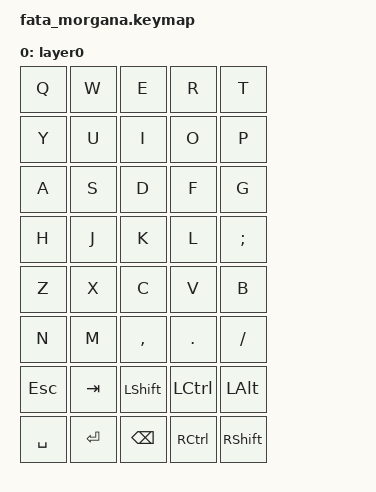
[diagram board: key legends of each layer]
#include <behaviors.dtsi>
#include <dt-bindings/zmk/keys.h>
#include <dt-bindings/zmk/bt.h>
#include <dt-bindings/zmk/ext_power.h>

  / {
    keymap {
      compatible = "zmk,keymap";
      layer0 {
          bindings = <
            &kp Q &kp W &kp E &kp R &kp T 
            &kp Y &kp U &kp I &kp O &kp P 
            &kp A &kp S &kp D &kp F &kp G
            &kp H &kp J &kp K &kp L &kp SEMI
            &kp Z &kp X &kp C &kp V &kp B
            &kp N &kp M &kp COMMA &kp DOT &kp SLASH
            &kp ESC &kp TAB &kp LSHIFT &kp LCTRL &kp LALT
            &kp SPACE &kp ENTER &kp BSPC &kp RCTRL &kp RSHIFT
          >;
        };

    };
  };
  
// / {
//     keymap {
//         compatible = "zmk,keymap";

//         layer0 {
//             bindings = <
//                 &kp Q &kp W &kp E &kp R &kp T &kp Y &kp U &kp I &kp O &kp P
//                 &mt LEFT_GUI A &mt LEFT_ALT S &mt LEFT_CONTROL D &mt LEFT_SHIFT F &mt LEFT_GUI G
//                 &mt LEFT_GUI H &mt RIGHT_SHIFT J &mt RIGHT_CONTROL K &mt RIGHT_ALT L &mt RIGHT_GUI SEMICOLON
//                 &lt 2 Z &kp X &kp C &kp V &kp B
//                 &lt 1 N &kp M &kp COMMA &kp DOT &kp SLASH
//                 &lt 2 F20 &kp SPACE &lt 1 TAB &kp ENTER &kp BACKSPACE
//             >;
//         };

//         layer1 {
//             bindings = <
//                 &kp N1 &kp N2 &kp N3 &kp N4 &kp N5 &kp N6 &kp N7 &kp N8 &kp N9 &kp N0
//                 &mt LEFT_GUI GRAVE &mt LEFT_ALT F20 &mt LEFT_CONTROL F20 &mt LEFT_SHIFT F20 &mt LEFT_GUI KP_CLEAR
//                 &none &kp GRAVE &kp MINUS &kp EQUAL &kp SINGLE_QUOTE
//                 &kp K_UNDO &kp K_CUT &kp K_COPY &kp K_PASTE &kp K_FIND
//                 &none &kp BACKSLASH &kp LEFT_BRACKET &kp RIGHT_BRACKET &kp KP_SLASH
//                 &kp PRINTSCREEN &none &none &none &none
//             >;
//         };

//         layer2 {
//             bindings = <
//                 &kp F1 &kp F2 &kp F3 &kp F4 &kp F5 &kp F6 &kp F7 &kp F8 &kp F9 &kp F10
//                 &kp LEFT_GUI &kp LEFT_ALT &kp LEFT_CONTROL &kp LEFT_SHIFT &mt LEFT_GUI KP_CLEAR
//                 &kp LEFT &kp DOWN &kp UP &kp RIGHT &kp F11
//                 &kp K_UNDO &kp K_CUT &kp K_COPY &kp K_PASTE &kp K_FIND
//                 &kp HOME &kp PAGE_DOWN &kp PAGE_UP &kp END &kp F12
//                 &kp C_VOLUME_DOWN &kp C_VOLUME_UP &kp C_MUTE &none &none
//             >;
//         };
//     };
// };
